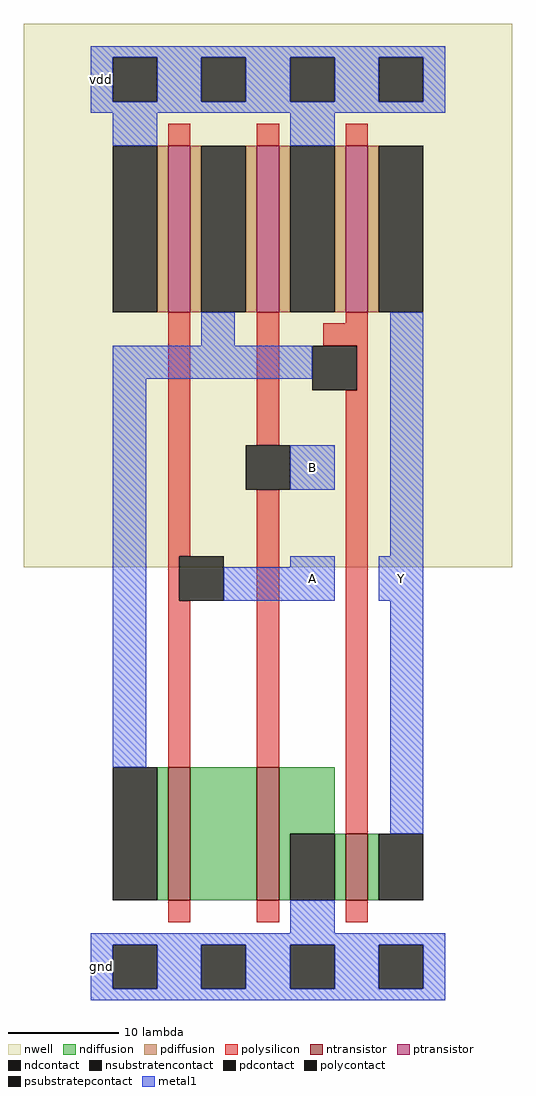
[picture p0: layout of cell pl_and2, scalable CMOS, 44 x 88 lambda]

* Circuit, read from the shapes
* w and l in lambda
.subckt pl_and2 A B Y vdd gnd
M1 n1 A n2 gnd nfet w=12 l=2
M2 gnd B n1 gnd nfet w=12 l=2
M3 Y n2 gnd gnd nfet w=6 l=2
M4 n2 A vdd vdd pfet w=15 l=2
M5 vdd B n2 vdd pfet w=15 l=2
M6 Y n2 vdd vdd pfet w=15 l=2
.ends

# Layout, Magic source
magic
tech scmos
<< nwell >>
rect -6 36 38 85
<< ndiffusion >>
rect 6 6 7 18
rect 9 6 15 18
rect 17 6 18 12
rect 22 6 23 12
rect 25 6 26 12
rect 17 12 22 18
<< pdiffusion >>
rect 6 59 7 74
rect 9 59 10 74
rect 14 59 15 74
rect 17 59 18 74
rect 22 59 23 74
rect 25 59 26 74
<< polysilicon >>
rect 7 4 9 6
rect 15 4 17 6
rect 23 4 25 6
rect 23 12 25 52
rect 7 18 9 33
rect 15 18 17 43
rect 7 33 8 37
rect 7 37 9 59
rect 15 47 17 59
rect 24 52 25 56
rect 21 56 25 58
rect 23 58 25 59
rect 7 74 9 76
rect 15 74 17 76
rect 23 74 25 76
<< ntransistor >>
rect 7 6 9 18
rect 15 6 17 18
rect 23 6 25 12
<< ptransistor >>
rect 7 59 9 74
rect 15 59 17 74
rect 23 59 25 74
<< ndcontact >>
rect 2 6 6 18
rect 18 6 22 12
rect 26 6 30 12
<< pdcontact >>
rect 2 59 6 74
rect 10 59 14 74
rect 18 59 22 74
rect 26 59 30 74
<< polycontact >>
rect 8 33 12 37
rect 14 43 18 47
rect 20 52 24 56
<< psubstratepcontact >>
rect 2 -2 6 2
rect 10 -2 14 2
rect 18 -2 22 2
rect 26 -2 30 2
<< nsubstratencontact >>
rect 2 78 6 82
rect 10 78 14 82
rect 18 78 22 82
rect 26 78 30 82
<< metal1 >>
rect 0 -3 32 -2
rect 0 -2 2 2
rect 6 -2 10 2
rect 14 -2 18 2
rect 22 -2 26 2
rect 30 -2 32 2
rect 0 2 32 3
rect 18 3 22 6
rect 27 12 30 33
rect 2 18 5 53
rect 12 33 22 36
rect 26 33 30 37
rect 18 36 22 37
rect 27 37 30 59
rect 18 43 22 47
rect 2 53 20 56
rect 10 56 13 59
rect 2 74 6 77
rect 18 74 22 77
rect 0 77 32 78
rect 0 78 2 82
rect 6 78 10 82
rect 14 78 18 82
rect 22 78 26 82
rect 30 78 32 82
rect 0 82 32 83
<< labels >>
rlabel metal1 s 18 33 22 37 0 A
port 1 nsew signal input
rlabel metal1 s 18 43 22 47 0 B
port 2 nsew signal input
rlabel metal1 s 26 33 30 37 0 Y
port 3 nsew signal output
rlabel metal1 s 0 77 2 83 0 vdd
port 4 nsew power bidirectional
rlabel metal1 s 0 -3 2 3 0 gnd
port 5 nsew ground bidirectional
<< properties >>
string FIXED_BBOX 0 0 32 80
<< end >>
